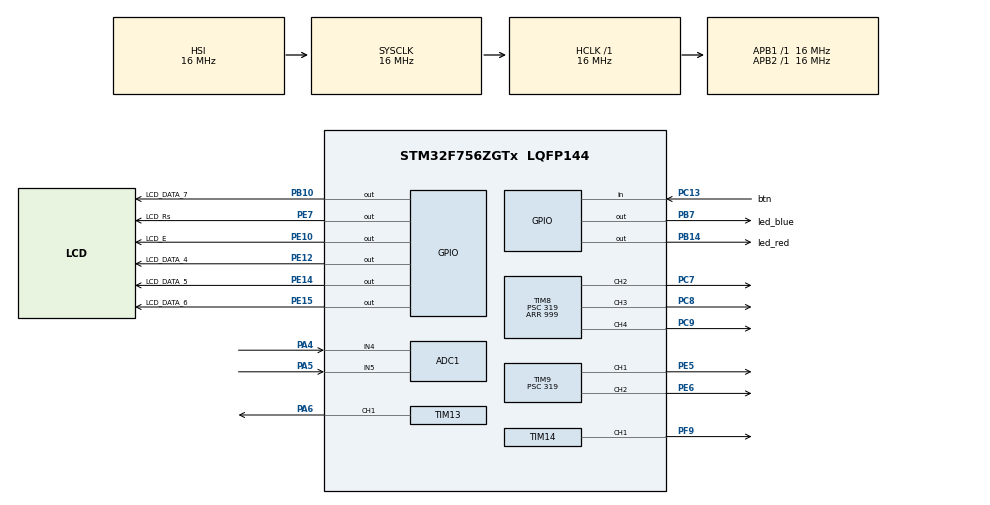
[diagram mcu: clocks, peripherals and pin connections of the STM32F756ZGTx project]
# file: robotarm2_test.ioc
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ADC1.Channel-1\#ChannelRegularConversion=ADC_CHANNEL_TEMPSENSOR
ADC1.Channel-2\#ChannelRegularConversion=ADC_CHANNEL_4
ADC1.Channel-3\#ChannelRegularConversion=ADC_CHANNEL_5
ADC1.ContinuousConvMode=ENABLE
ADC1.DMAContinuousRequests=ENABLE
ADC1.NbrOfConversion=3
ADC1.NbrOfConversionFlag=1
ADC1.Rank-1\#ChannelRegularConversion=1
ADC1.Rank-2\#ChannelRegularConversion=2
ADC1.Rank-3\#ChannelRegularConversion=3
ADC1.SamplingTime-1\#ChannelRegularConversion=ADC_SAMPLETIME_480CYCLES
ADC1.SamplingTime-2\#ChannelRegularConversion=ADC_SAMPLETIME_480CYCLES
ADC1.SamplingTime-3\#ChannelRegularConversion=ADC_SAMPLETIME_480CYCLES
ADC1.ScanConvMode=ADC_SCAN_ENABLE
ADC1.master=1
Dma.ADC1.0.Direction=DMA_PERIPH_TO_MEMORY
Dma.ADC1.0.FIFOMode=DMA_FIFOMODE_DISABLE
Dma.ADC1.0.Instance=DMA2_Stream0
Dma.ADC1.0.MemDataAlignment=DMA_MDATAALIGN_WORD
Dma.ADC1.0.MemInc=DMA_MINC_ENABLE
Dma.ADC1.0.Mode=DMA_CIRCULAR
Dma.ADC1.0.PeriphDataAlignment=DMA_PDATAALIGN_WORD
Dma.ADC1.0.PeriphInc=DMA_PINC_DISABLE
Dma.ADC1.0.Priority=DMA_PRIORITY_LOW
Dma.Request0=ADC1
Mcu.Family=STM32F7
Mcu.Name=STM32F756ZGTx
Mcu.Package=LQFP144
NVIC.DMA2_Stream0_IRQn=true\:0\:0\:false\:false\:true\:false\:true
NVIC.PriorityGroup=NVIC_PRIORITYGROUP_4
PA4.Signal=ADCx_IN4
PA5.Signal=ADCx_IN5
PA6.Signal=S_TIM13_CH1
PB10.GPIO_Label=LCD_DATA_7
PB10.Signal=GPIO_Output
PB14.GPIO_Label=led_red
PB14.Signal=GPIO_Output
PB7.GPIO_Label=led_blue
PB7.Signal=GPIO_Output
PC13.GPIO_Label=btn
PC13.Signal=GPIO_Input
PC7.Signal=S_TIM8_CH2
PC8.Signal=S_TIM8_CH3
PC9.Signal=S_TIM8_CH4
PE10.GPIO_Label=LCD_E
PE10.Signal=GPIO_Output
PE12.GPIO_Label=LCD_DATA_4
PE12.Signal=GPIO_Output
PE14.GPIO_Label=LCD_DATA_5
PE14.Signal=GPIO_Output
PE15.GPIO_Label=LCD_DATA_6
PE15.Signal=GPIO_Output
PE5.Signal=S_TIM9_CH1
PE6.Signal=S_TIM9_CH2
PE7.GPIO_Label=LCD_Rs
PE7.Signal=GPIO_Output
PF9.Signal=S_TIM14_CH1
ProjectManager.HeapSize=0x200
ProjectManager.StackSize=0x400
ProjectManager.TargetToolchain=TrueSTUDIO
RCC.AHBFreq_Value=16000000
RCC.APB1Freq_Value=16000000
RCC.APB1TimFreq_Value=16000000
RCC.APB2Freq_Value=16000000
RCC.APB2TimFreq_Value=16000000
RCC.CortexFreq_Value=16000000
RCC.HCLKFreq_Value=16000000
RCC.HSE_VALUE=25000000
RCC.HSI_VALUE=16000000
RCC.LSE_VALUE=32768
RCC.PLLM=8
RCC.PLLN=64
RCC.SYSCLKFreq_VALUE=16000000
RCC.USBFreq_Value=64000000
RCC.VCOOutputFreq_Value=128000000
SH.ADCx_IN4.0=ADC1_IN4,IN4
SH.ADCx_IN5.0=ADC1_IN5,IN5
SH.S_TIM13_CH1.0=TIM13_CH1,PWM Generation1 CH1
SH.S_TIM14_CH1.0=TIM14_CH1,PWM Generation1 CH1
SH.S_TIM8_CH2.0=TIM8_CH2,PWM Generation2 CH2
SH.S_TIM8_CH3.0=TIM8_CH3,PWM Generation3 CH3
SH.S_TIM8_CH4.0=TIM8_CH4,PWM Generation4 CH4
SH.S_TIM9_CH1.0=TIM9_CH1,PWM Generation1 CH1
SH.S_TIM9_CH2.0=TIM9_CH2,PWM Generation2 CH2
TIM13.Channel=TIM_CHANNEL_1
TIM13.Period=999
TIM13.Prescaler=319
TIM14.Channel=TIM_CHANNEL_1
TIM14.Period=999
TIM14.Prescaler=319
TIM8.Channel-PWM\ Generation2\ CH2=TIM_CHANNEL_2
TIM8.Channel-PWM\ Generation3\ CH3=TIM_CHANNEL_3
TIM8.Channel-PWM\ Generation4\ CH4=TIM_CHANNEL_4
TIM8.Period=999
TIM8.Prescaler=319
TIM9.Channel-PWM\ Generation1\ CH1=TIM_CHANNEL_1
TIM9.Channel-PWM\ Generation2\ CH2=TIM_CHANNEL_2
TIM9.Period=999
TIM9.Prescaler=319
VP_ADC1_TempSens_Input.Mode=IN-TempSens
VP_TIM13_VS_ClockSourceINT.Mode=Enable_Timer
VP_TIM14_VS_ClockSourceINT.Mode=Enable_Timer
VP_TIM8_VS_ClockSourceINT.Mode=Internal
VP_TIM9_VS_ClockSourceINT.Mode=Internal
board=custom

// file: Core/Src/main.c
/* USER CODE BEGIN Header */
/**
  ******************************************************************************
  * @file           : main.c
  * @brief          : Main program body
  ******************************************************************************
  * @attention
  *
  * <h2><center>&copy; Copyright (c) 2021 STMicroelectronics.
  * All rights reserved.</center></h2>
  *
  * This software component is licensed by ST under BSD 3-Clause license,
  * the "License"; You may not use this file except in compliance with the
  * License. You may obtain a copy of the License at:
  *                        opensource.org/licenses/BSD-3-Clause
  *
  ******************************************************************************
  */
/* USER CODE END Header */
#include "main.h"
#include "adc.h"
#include "dma.h"
#include "tim.h"
#include "gpio.h"

/* USER CODE BEGIN Includes */
//#include "lwip/apps/httpd.h"
#include "lcd.h"
/* USER CODE END Includes */

/* USER CODE BEGIN PV */
u32 AdcDMA_data[3];
/* USER CODE END PV */

void SystemClock_Config(void);

int main(void)
{

  /* MCU Configuration--------------------------------------------------------*/

  /* Reset of all peripherals, Initializes the Flash interface and the Systick. */
  HAL_Init();

  /* Configure the system clock */
  SystemClock_Config();

  /* Initialize all configured peripherals */
  MX_GPIO_Init();
  MX_DMA_Init();
  MX_TIM8_Init();
  MX_TIM13_Init();
  MX_TIM14_Init();
  MX_TIM9_Init();
  MX_ADC1_Init();
  /* USER CODE BEGIN 2 */
  //httpd_init();
 // MX_LWIP_Process();
  LCD_init_customcurzor(1,1);
  HAL_TIM_PWM_Start(&htim8,TIM_CHANNEL_2);
  HAL_TIM_PWM_Start(&htim8,TIM_CHANNEL_3);
  HAL_TIM_PWM_Start(&htim8,TIM_CHANNEL_4);
  HAL_TIM_PWM_Start(&htim9,TIM_CHANNEL_1);
  HAL_TIM_PWM_Start(&htim9,TIM_CHANNEL_2);
  HAL_TIM_PWM_Start(&htim13,TIM_CHANNEL_1);
  HAL_TIM_PWM_Start(&htim14,TIM_CHANNEL_1);
  HAL_ADC_Start_DMA(&hadc1,AdcDMA_data,3);
  /* USER CODE END 2 */

  /* Infinite loop */
  /* USER CODE BEGIN WHILE */
  LCD_test();
  LCD_goto(0,0);
  LCD_string("Position:");
  while (1)
  {
    /* USER CODE END WHILE */

    /* USER CODE BEGIN 3 */

	  for(u8 i = 25; i <= 125; i += 10){
		  LCD_goto(1,1);
		  LCD_int2(i,sizeof(i));
		  LCD_string("  ");
		  htim8.Instance -> CCR2 = i;
		  htim8.Instance -> CCR3 = i;
		  htim8.Instance -> CCR4 = i;
		  htim9.Instance -> CCR1 = i;
		  htim9.Instance -> CCR2 = i;
		  htim13.Instance -> CCR1 = i;
		  htim14.Instance -> CCR1 = i;
		  HAL_Delay(1000);
	  }
	  /*htim8.Instance -> CCR2 = 75;
	  htim8.Instance -> CCR3 = 75;
	  htim8.Instance -> CCR4 = 75;
	  htim9.Instance -> CCR1 = 75;
	  htim9.Instance -> CCR2 = 75;
	  htim13.Instance -> CCR1 = 75;
	  htim14.Instance -> CCR1 = 75;
*/
	  HAL_GPIO_TogglePin(led_blue_GPIO_Port, led_blue_Pin);
	//  HAL_Delay(2000);
  }
  /* USER CODE END 3 */
}

void SystemClock_Config(void)
{
  RCC_OscInitTypeDef RCC_OscInitStruct = {0};
  RCC_ClkInitTypeDef RCC_ClkInitStruct = {0};

  /** Configure the main internal regulator output voltage
  */
  __HAL_RCC_PWR_CLK_ENABLE();
  __HAL_PWR_VOLTAGESCALING_CONFIG(PWR_REGULATOR_VOLTAGE_SCALE3);
  /** Initializes the RCC Oscillators according to the specified parameters
  * in the RCC_OscInitTypeDef structure.
  */
  RCC_OscInitStruct.OscillatorType = RCC_OSCILLATORTYPE_HSI;
  RCC_OscInitStruct.HSIState = RCC_HSI_ON;
  RCC_OscInitStruct.HSICalibrationValue = RCC_HSICALIBRATION_DEFAULT;
  RCC_OscInitStruct.PLL.PLLState = RCC_PLL_NONE;
  if (HAL_RCC_OscConfig(&RCC_OscInitStruct) != HAL_OK)
  {
    Error_Handler();
  }
  /** Initializes the CPU, AHB and APB buses clocks
  */
  RCC_ClkInitStruct.ClockType = RCC_CLOCKTYPE_HCLK|RCC_CLOCKTYPE_SYSCLK
                              |RCC_CLOCKTYPE_PCLK1|RCC_CLOCKTYPE_PCLK2;
  RCC_ClkInitStruct.SYSCLKSource = RCC_SYSCLKSOURCE_HSI;
  RCC_ClkInitStruct.AHBCLKDivider = RCC_SYSCLK_DIV1;
  RCC_ClkInitStruct.APB1CLKDivider = RCC_HCLK_DIV1;
  RCC_ClkInitStruct.APB2CLKDivider = RCC_HCLK_DIV1;

  if (HAL_RCC_ClockConfig(&RCC_ClkInitStruct, FLASH_LATENCY_0) != HAL_OK)
  {
    Error_Handler();
  }
}

void Error_Handler(void)
{
  __disable_irq();
  while (1)
  {
  }
}

/************************ (C) COPYRIGHT STMicroelectronics *****END OF FILE****/
